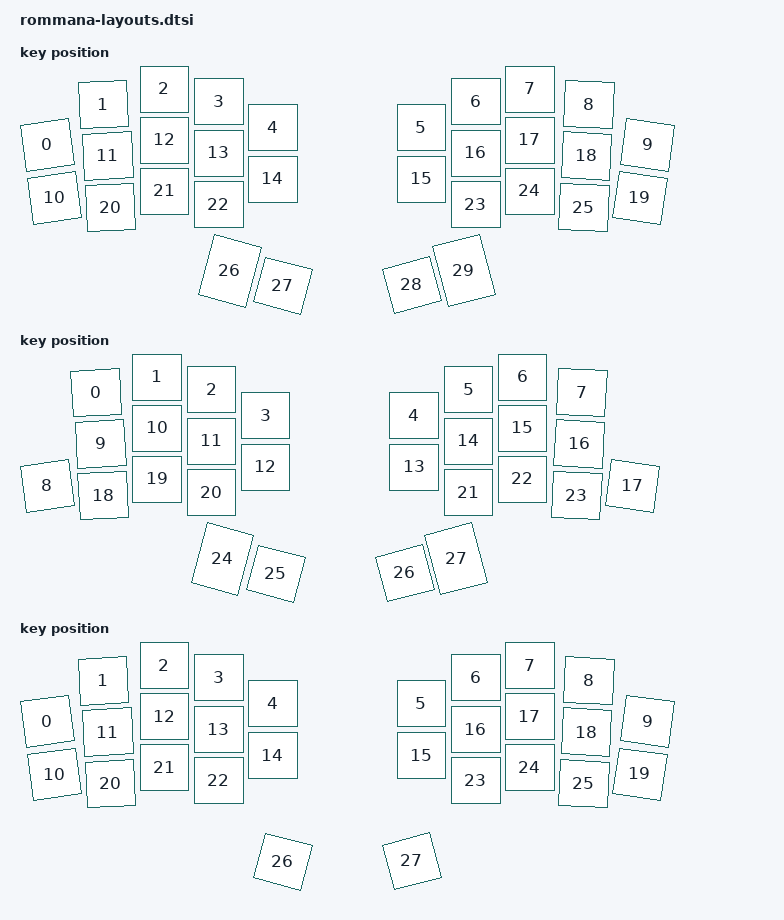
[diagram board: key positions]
#include <physical_layouts.dtsi>

/ {
    rommana_30_layout: layout_0 {
        compatible = "zmk,physical-layout";
        display-name = "30 keys";

        keys  //                     w   h    x    y     rot    rx    ry
            = <&key_physical_attrs 105 100    0  112  (-800)    52   166>
            , <&key_physical_attrs 105 100  112   31  (-300)   169    81>
            , <&key_physical_attrs 105 100  234    0       0     0     0>
            , <&key_physical_attrs 105 100  343   25       0     0     0>
            , <&key_physical_attrs 105 100  451   77       0     0     0>
            , <&key_physical_attrs 105 100  748   77       0     0     0>
            , <&key_physical_attrs 105 100  857   25       0     0     0>
            , <&key_physical_attrs 105 100  965    0       0     0     0>
            , <&key_physical_attrs 105 100 1083   31     300  1136    81>
            , <&key_physical_attrs 105 100 1200  112     800  1253   166>
            , <&key_physical_attrs 105 100   14  218  (-800)    67   268>
            , <&key_physical_attrs 105 100  121  134  (-300)   174   184>
            , <&key_physical_attrs 105 100  234  102       0     0     0>
            , <&key_physical_attrs 105 100  343  128       0     0     0>
            , <&key_physical_attrs 105 100  451  180       0     0     0>
            , <&key_physical_attrs 105 100  748  180       0     0     0>
            , <&key_physical_attrs 105 100  857  128       0     0     0>
            , <&key_physical_attrs 105 100  965  102       0     0     0>
            , <&key_physical_attrs 105 100 1078  134     300  1131   184>
            , <&key_physical_attrs 105 100 1185  218     800  1238   268>
            , <&key_physical_attrs 105 100  126  237  (-300)   179   287>
            , <&key_physical_attrs 105 100  234  204       0     0     0>
            , <&key_physical_attrs 105 100  343  231       0     0     0>
            , <&key_physical_attrs 105 100  857  231       0     0     0>
            , <&key_physical_attrs 105 100  965  204       0     0     0>
            , <&key_physical_attrs 105 100 1073  237     300  1126   287>
            , <&key_physical_attrs 105 132  370  361    1500   470   400>
            , <&key_physical_attrs 105 100  479  386    1500   500   409>
            , <&key_physical_attrs 105 100  721  386 (-1500)   800   409>
            , <&key_physical_attrs 105 132  827  361 (-1500)   830   400>
            ;
    };

    rommana_28_a_layout: layout_1 {
        compatible = "zmk,physical-layout";
        display-name = "28 keys, dual thumb";

        keys  //                     w   h    x    y     rot    rx    ry
            = <&key_physical_attrs 105 100  112   31  (-300)   169    81>
            , <&key_physical_attrs 105 100  234    0       0     0     0>
            , <&key_physical_attrs 105 100  343   25       0     0     0>
            , <&key_physical_attrs 105 100  451   77       0     0     0>
            , <&key_physical_attrs 105 100  748   77       0     0     0>
            , <&key_physical_attrs 105 100  857   25       0     0     0>
            , <&key_physical_attrs 105 100  965    0       0     0     0>
            , <&key_physical_attrs 105 100 1083   31     300  1136    81>
            , <&key_physical_attrs 105 100   14  218  (-800)    67   268>
            , <&key_physical_attrs 105 100  121  134  (-300)   174   184>
            , <&key_physical_attrs 105 100  234  102       0     0     0>
            , <&key_physical_attrs 105 100  343  128       0     0     0>
            , <&key_physical_attrs 105 100  451  180       0     0     0>
            , <&key_physical_attrs 105 100  748  180       0     0     0>
            , <&key_physical_attrs 105 100  857  128       0     0     0>
            , <&key_physical_attrs 105 100  965  102       0     0     0>
            , <&key_physical_attrs 105 100 1078  134     300  1131   184>
            , <&key_physical_attrs 105 100 1185  218     800  1238   268>
            , <&key_physical_attrs 105 100  126  237  (-300)   179   287>
            , <&key_physical_attrs 105 100  234  204       0     0     0>
            , <&key_physical_attrs 105 100  343  231       0     0     0>
            , <&key_physical_attrs 105 100  857  231       0     0     0>
            , <&key_physical_attrs 105 100  965  204       0     0     0>
            , <&key_physical_attrs 105 100 1073  237     300  1126   287>
            , <&key_physical_attrs 105 132  370  361    1500   470   400>
            , <&key_physical_attrs 105 100  479  386    1500   500   409>
            , <&key_physical_attrs 105 100  721  386 (-1500)   800   409>
            , <&key_physical_attrs 105 132  827  361 (-1500)   830   400>
            ;
    };

    rommana_28_b_layout: layout_2 {
        compatible = "zmk,physical-layout";
        display-name = "28 keys, single thumb";

        keys  //                     w   h    x    y     rot    rx    ry
            = <&key_physical_attrs 105 100    0  112  (-800)    52   166>
            , <&key_physical_attrs 105 100  112   31  (-300)   169    81>
            , <&key_physical_attrs 105 100  234    0       0     0     0>
            , <&key_physical_attrs 105 100  343   25       0     0     0>
            , <&key_physical_attrs 105 100  451   77       0     0     0>
            , <&key_physical_attrs 105 100  748   77       0     0     0>
            , <&key_physical_attrs 105 100  857   25       0     0     0>
            , <&key_physical_attrs 105 100  965    0       0     0     0>
            , <&key_physical_attrs 105 100 1083   31     300  1136    81>
            , <&key_physical_attrs 105 100 1200  112     800  1253   166>
            , <&key_physical_attrs 105 100   14  218  (-800)    67   268>
            , <&key_physical_attrs 105 100  121  134  (-300)   174   184>
            , <&key_physical_attrs 105 100  234  102       0     0     0>
            , <&key_physical_attrs 105 100  343  128       0     0     0>
            , <&key_physical_attrs 105 100  451  180       0     0     0>
            , <&key_physical_attrs 105 100  748  180       0     0     0>
            , <&key_physical_attrs 105 100  857  128       0     0     0>
            , <&key_physical_attrs 105 100  965  102       0     0     0>
            , <&key_physical_attrs 105 100 1078  134     300  1131   184>
            , <&key_physical_attrs 105 100 1185  218     800  1238   268>
            , <&key_physical_attrs 105 100  126  237  (-300)   179   287>
            , <&key_physical_attrs 105 100  234  204       0     0     0>
            , <&key_physical_attrs 105 100  343  231       0     0     0>
            , <&key_physical_attrs 105 100  857  231       0     0     0>
            , <&key_physical_attrs 105 100  965  204       0     0     0>
            , <&key_physical_attrs 105 100 1073  237     300  1126   287>
            , <&key_physical_attrs 105 100  479  386    1500   500   409>
            , <&key_physical_attrs 105 100  721  386 (-1500)   800   409>
            ;
    };

    rommana_26_layout: layout_3 {
        compatible = "zmk,physical-layout";
        display-name = "26 keys";

        keys  //                     w   h    x    y     rot    rx    ry
            = <&key_physical_attrs 105 100  112   31  (-300)   169    81>
            , <&key_physical_attrs 105 100  234    0       0     0     0>
            , <&key_physical_attrs 105 100  343   25       0     0     0>
            , <&key_physical_attrs 105 100  451   77       0     0     0>
            , <&key_physical_attrs 105 100  748   77       0     0     0>
            , <&key_physical_attrs 105 100  857   25       0     0     0>
            , <&key_physical_attrs 105 100  965    0       0     0     0>
            , <&key_physical_attrs 105 100 1083   31     300  1136    81>
            , <&key_physical_attrs 105 100   14  218  (-800)    67   268>
            , <&key_physical_attrs 105 100  121  134  (-300)   174   184>
            , <&key_physical_attrs 105 100  234  102       0     0     0>
            , <&key_physical_attrs 105 100  343  128       0     0     0>
            , <&key_physical_attrs 105 100  451  180       0     0     0>
            , <&key_physical_attrs 105 100  748  180       0     0     0>
            , <&key_physical_attrs 105 100  857  128       0     0     0>
            , <&key_physical_attrs 105 100  965  102       0     0     0>
            , <&key_physical_attrs 105 100 1078  134     300  1131   184>
            , <&key_physical_attrs 105 100 1185  218     800  1238   268>
            , <&key_physical_attrs 105 100  126  237  (-300)   179   287>
            , <&key_physical_attrs 105 100  234  204       0     0     0>
            , <&key_physical_attrs 105 100  343  231       0     0     0>
            , <&key_physical_attrs 105 100  857  231       0     0     0>
            , <&key_physical_attrs 105 100  965  204       0     0     0>
            , <&key_physical_attrs 105 100 1073  237     300  1126   287>
            , <&key_physical_attrs 105 100  479  386    1500   500   409>
            , <&key_physical_attrs 105 100  721  386 (-1500)   800   409>
            ;
    };

    rommana_position_map {
        compatible = "zmk,physical-layout-position-map";

        complete;

        thirty {
            physical-layout = <&rommana_30_layout>;
            positions
                = < 0  1  2  3  4  5  6  7  8  9>
                , <10 11 12 13 14 15 16 17 18 19>
                , <   20 21 22       23 24 25   >
                , <         26 27 28 29         >
                ;
        };

        twentyeight_a {
            physical-layout = <&rommana_28_a_layout>;
            positions
                = <28  0  1  2  3  4  5  6  7 29>
                , < 8  9 10 11 12 13 14 15 16 17>
                , <   18 19 20       21 22 23   >
                , <         24 25 26 27         >
                ;
        };

        twentyeight_b {
            physical-layout = <&rommana_28_b_layout>;
            positions
                = < 0  1  2  3  4  5  6  7  8  9>
                , <10 11 12 13 14 15 16 17 18 19>
                , <   20 21 22       23 24 25   >
                , <         28 26 27 29         >
                ;
        };

        twentysix {
            physical-layout = <&rommana_26_layout>;
            positions
                = <26  0  1  2  3  4  5  6  7 27>
                , < 8  9 10 11 12 13 14 15 16 17>
                , <   18 19 20       21 22 23   >
                , <         28 24 25 29         >
                ;
        };
    };
};
